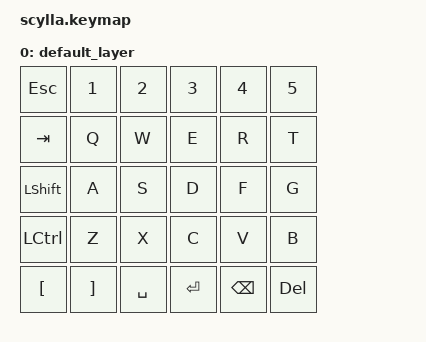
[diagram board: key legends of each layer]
#include <behaviors.dtsi>
#include <dt-bindings/zmk/keys.h>

/ {
    keymap {
        compatible = "zmk,keymap";

        default_layer {
            bindings = <
                // Row 0: Цифри (Pin 0.22)
                &kp ESC   &kp N1 &kp N2 &kp N3 &kp N4 &kp N5
                
                // Row 1: QWERTY (Pin 0.24)
                &kp TAB   &kp Q  &kp W  &kp E  &kp R  &kp T
                
                // Row 2: ASDF (Pin 1.00)
                &kp LSHIFT &kp A  &kp S  &kp D  &kp F  &kp G
                
                // Row 3: ZXCV (Pin 0.11)
                &kp LCTRL &kp Z  &kp X  &kp C  &kp V  &kp B
                
                // Row 4: Великий палець (Pin 1.04)
                // Тут 6 слотів, але кнопок у вас може бути 5 або 3. 
                // Вони будуть серед цих клавіш:
                &kp LBKT  &kp RBKT &kp SPACE &kp ENTER &kp BSPC &kp DEL
            >;
        };
    };
};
